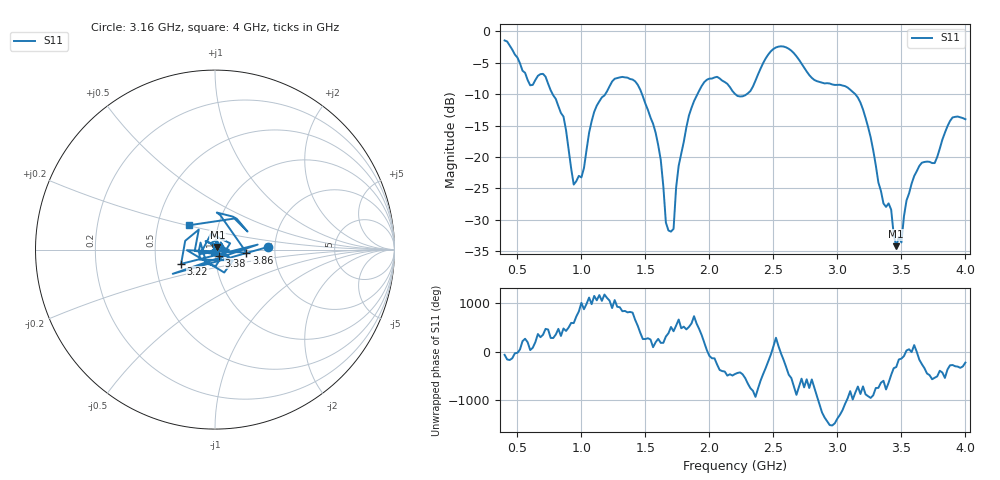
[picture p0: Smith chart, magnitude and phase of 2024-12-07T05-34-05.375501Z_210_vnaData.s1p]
!Created with skrf (http://scikit-rf.org).
# Hz S RI R 50.0
!freq ReS11 ImS11
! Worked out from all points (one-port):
!   181 points, 400 MHz to 4 GHz, reference 50 ohm
!   lowest |S11| = -34.2 dB at 3.46 GHz (marker M1), VSWR 1.04, Z = 51.3 + j1.45 ohm
!   |S11| at or under -10 dB: 775.8 MHz to 1.186 GHz (410.2 MHz wide, 41.8 % of centre); 1.474 GHz to 1.906 GHz (432.8 MHz wide, 25.6 % of centre); 3.14 GHz to end of sweep (the widest 3 of 4)
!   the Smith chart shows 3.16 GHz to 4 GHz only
!   S11 on the Smith chart (normalised r, x): 3.16 GHz: 1.84, +0.06; 3.22 GHz: 0.67, -0.11; 3.38 GHz: 1.04, -0.07; 3.86 GHz: 1.42, -0.05; 4 GHz: 0.72, +0.20
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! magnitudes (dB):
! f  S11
! 400 MHz  -1.4
! 600 MHz  -8.6
! 720 MHz  -7.2
! 860 MHz  -13.6
! 940 MHz  -24.4
! 1 GHz  -23.2
! 1.12 GHz  -11.8
! 1.3 GHz  -7.3
! 1.44 GHz  -8.5
! 1.56 GHz  -14.7
! 1.62 GHz  -20.5
! 1.68 GHz  -31.7
! 1.72 GHz  -31.4
! 1.76 GHz  -21.4
! 1.96 GHz  -8.1
! 2.2 GHz  -9.9
! 2.5 GHz  -2.8
! 2.66 GHz  -3.5
! 3.1 GHz  -9.3
! 3.16 GHz  -10.5
! 3.22 GHz  -13.8
! 3.38 GHz  -27.9
! 3.42 GHz  -28.4
! 3.46 GHz  -34.2
! 3.5 GHz  -33.6
! 3.56 GHz  -25.8
! 3.86 GHz  -15.1
! 4 GHz  -14.0
